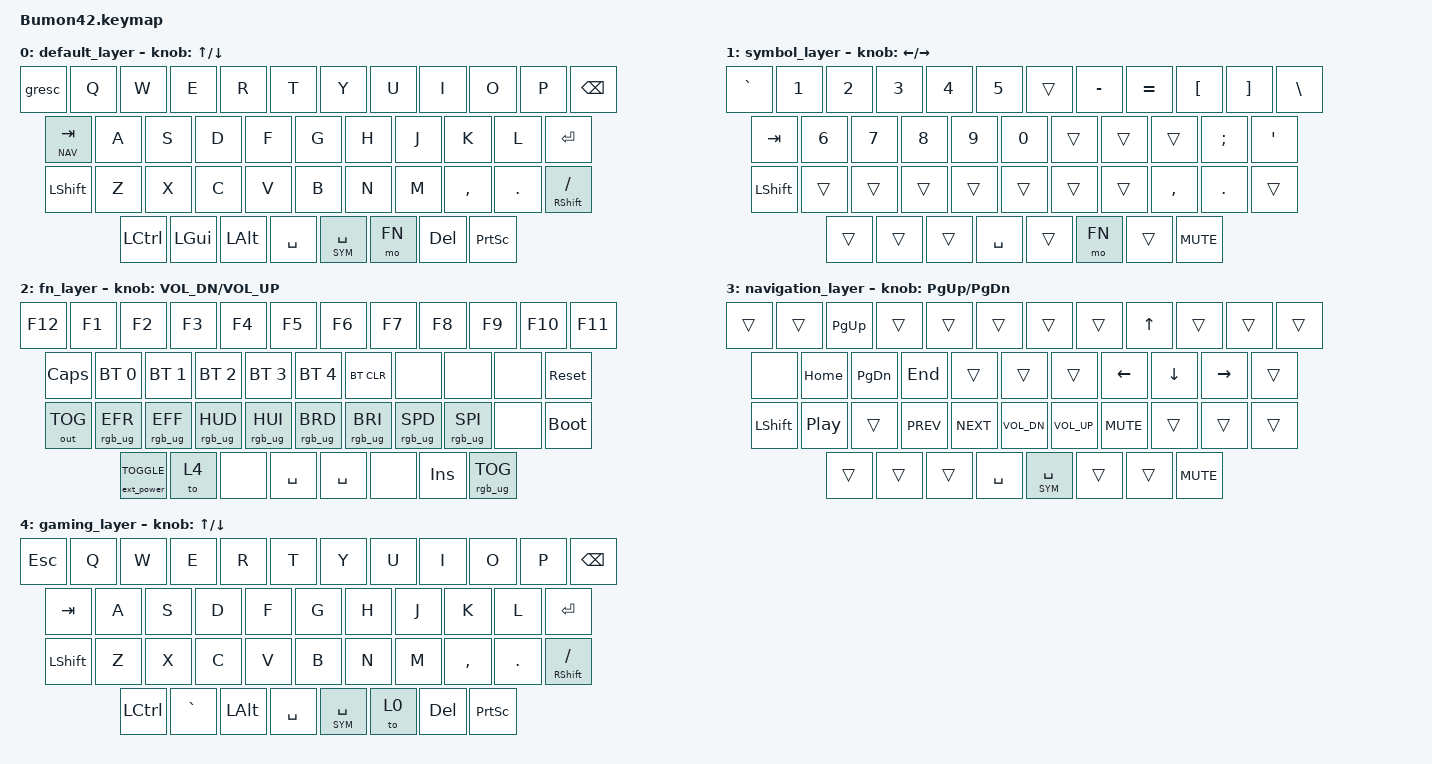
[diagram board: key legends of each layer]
#include <behaviors.dtsi>
#include <dt-bindings/zmk/keys.h>
#include <dt-bindings/zmk/bt.h>
#include <dt-bindings/zmk/outputs.h>
#include <dt-bindings/zmk/rgb.h>
#include <dt-bindings/zmk/ext_power.h>
// Right space for layer switch
#define DEF 0
#define SYM 1
#define FN  2
#define NAV 3
#define GME 4

/ {
    behaviors {
        gresc: grave_escape {
            compatible = "zmk,behavior-mod-morph";
            label = "GRAVE_ESCAPE";
            #binding-cells = <0>;
            bindings = <&kp ESC>, <&kp GRAVE>;
            mods = <(MOD_LSFT)>;
        };
    };
    keymap {
        compatible = "zmk,keymap";

        default_layer {
	// --------------------------------------------------------------------------------------------------------------------------
	// |   ESC   |    Q    |    W    |    E    |    R    |    T    |    Y    |    U    |    I    |    O    |    P    |   BKSP   |
	// |   TAB_NAV  |    A    |    S    |    D    |    F    |    G    |    H    |    J    |    K    |    L    |      ENTER      |
	// |    L_SHIFT    |    Z    |    X    |    C    |    V    |    B    |    N    |    M    |    ,    |    .    |   R_SHIFT  / |
	// |    CTRL    |   GUI   |    ALT    |           SPACE          |      SPACE_SYM       |    FN    |   DEL   |     PRTSC    | (UP DN)
	// --------------------------------------------------------------------------------------------------------------------------
          bindings = <
            &gresc  &kp Q   &kp W  &kp E  &kp R  &kp T    &kp Y  &kp U  &kp I  &kp O   &kp P  &kp BSPC
            &lt NAV TAB    &kp A  &kp S  &kp D  &kp F  &kp G  &kp H  &kp J  &kp K  &kp L         &kp ENTER
            &kp LSHFT   &kp Z  &kp X  &kp C  &kp V  &kp B  &kp N  &kp M  &kp COMMA &kp DOT   &mt RSHIFT SLASH
            &kp LCTRL &kp LGUI &kp LALT    &kp SPACE     &lt SYM SPACE  &mo FN   &kp DEL  &kp PSCRN
			       >;
          sensor-bindings = <&inc_dec_kp UP DOWN>;

        };

        symbol_layer {
	// --------------------------------------------------------------------------------------------------------------------------
	// |    `    |    1    |    2    |    3    |    4    |    5    |    Y    |    -    |    =    |    [    |    ]    |    \     |
	// |     TAB    |    6    |    7    |    8    |    9    |    0    |    H    |    J    |    K    |    ;    |        '        |
	// |    L_SHIFT    |    Z    |    X    |    C    |    V    |    B    |    N    |    M    |    ,    |    .    |   R_SHIFT /  |
	// |    CTRL    |   GUI   |    ALT    |           SPACE          |      SPACE_LT1       |    FN    |   DEL   |     MUTE     | (LEFT RIGHT)
	// --------------------------------------------------------------------------------------------------------------------------
          bindings = <
            &kp GRAVE  &kp N1  &kp N2  &kp N3  &kp N4  &kp N5    &trans  &kp MINUS  &kp EQUAL  &kp LBKT   &kp RBKT  &kp BSLH
            &kp TAB    &kp N6  &kp N7  &kp N8  &kp N9  &kp N0  &trans  &trans  &trans  &kp SEMI         &kp SQT
            &kp LSHFT   &trans  &trans  &trans  &trans  &trans  &trans  &trans  &kp COMMA &kp DOT   &trans
            &trans &trans &trans  &kp SPACE  &trans   &mo FN   &trans   &kp C_MUTE
                           >;
          sensor-bindings = <&inc_dec_kp LEFT RIGHT>;
	  
        };
	
        fn_layer {
	// --------------------------------------------------------------------------------------------------------------------------
	// |   F12   |    F1   |    F2   |    F3   |    F4   |    F5   |    F6   |    F7   |    F8   |    F9   |   F10   |    F11   |
	// |    CAPS    |   BT-0  |  BT-1   |  BT-2   |  BT-3   |  BT-4   | BT_CLR  |  none   |  none   |  none   |      reset      |
	// |    out-tog    | rgb-efr | rgb-rff | rgb-hud | rgb-hui | rgb-brd | rgb-bri | rgb-spd | rgb-spi |  none   |  bootloader  |
	// | ex-pwr-tog |   GME   |   none    |           SPACE          |         SPACE        |    FN    |   INS   |    rgb-tog   | (VOL_DN VOL_UP)
	// --------------------------------------------------------------------------------------------------------------------------
          bindings = <
            &kp F12  &kp F1  &kp F2  &kp F3  &kp F4  &kp F5    &kp F6  &kp F7  &kp F8  &kp F9 &kp F10  &kp F11
            &kp CAPS    &bt BT_SEL 0 &bt BT_SEL 1 &bt BT_SEL 2 &bt BT_SEL 3 &bt BT_SEL 4  &bt BT_CLR  &none  &none  &none    &sys_reset
            &out OUT_TOG    &rgb_ug RGB_EFR   &rgb_ug RGB_EFF    &rgb_ug RGB_HUD     &rgb_ug RGB_HUI   &rgb_ug RGB_BRD    &rgb_ug RGB_BRI     &rgb_ug RGB_SPD   &rgb_ug RGB_SPI   &none          &bootloader
            &ext_power EXT_POWER_TOGGLE_CMD   &to 4   &none    &kp SPACE   &kp SPACE      &none  &kp INS  &rgb_ug RGB_TOG
			   >; 
          sensor-bindings = <&inc_dec_kp C_VOL_DN C_VOL_UP>;

        };
	
        navigation_layer {
	// --------------------------------------------------------------------------------------------------------------------------
	// |   ESC   |    Q    |   PGUP    |    E    |    R    |    T    |    Y    |    U    |   UP  |    O    |    P    |   BKSP   |
	// |   TAB_NAV  |  HOME   |   PGDN  |   END   |    F    |    G    |    H    |   LEFT  |   DOWN  |  RIGHT  |      ENTER      |
	// |    L_SHIFT    |  PLAY   |    X    |   PREV  |   NEXT  |  VOLDN  | VOLUP   |   MUTE  |    ,    |    .    |   R_SHIFT  / |
	// |    CTRL    |   GUI   |    ALT    |           SPACE          |      SPACE_SYM       |    FN    |   DEL   |     MUTE     | (PG_DN PG_UP)
	// --------------------------------------------------------------------------------------------------------------------------
          bindings = <
            &trans &trans  &kp PG_UP  &trans  &trans  &trans    &trans  &trans    &kp UP   &trans   &trans    &trans
            &none   &kp HOME    &kp PG_DN  &kp END   &trans   &trans   &trans  &kp LEFT  &kp DOWN  &kp RIGHT   &trans
            &kp LSHFT   &kp C_PP   &trans  &kp C_PREV   &kp C_NEXT   &kp C_VOL_DN    &kp C_VOL_UP  &kp C_MUTE  &trans  &trans   &trans
            &trans   &trans   &trans       &kp SPACE           &lt SYM SPACE                   &trans  &trans  &kp C_MUTE
			       >;
          sensor-bindings = <&inc_dec_kp PG_UP PG_DN>;

        };
	
	gaming_layer {
	// --------------------------------------------------------------------------------------------------------------------------
	// |   ESC   |    Q    |    W    |    E    |    R    |    T    |    Y    |    U    |    I    |    O    |    P    |   BKSP   |
	// |     TAB    |    A    |    S    |    D    |    F    |    G    |    H    |    J    |    K    |    L    |      ENTER      |
	// |    L_SHIFT    |    Z    |    X    |    C    |    V    |    B    |    N    |    M    |    ,    |    .    |   R_SHIFT  / |
	// |    CTRL    |     `    |    ALT    |           SPACE          |      SPACE_SYM       |   DEF   |   DEL   |     PRTSC    | (UP DN)
	// --------------------------------------------------------------------------------------------------------------------------
          bindings = <
            &kp ESC  &kp Q   &kp W  &kp E  &kp R  &kp T    &kp Y  &kp U  &kp I  &kp O   &kp P  &kp BSPC
            &kp TAB    &kp A  &kp S  &kp D  &kp F  &kp G  &kp H  &kp J  &kp K  &kp L         &kp ENTER
            &kp LSHFT   &kp Z  &kp X  &kp C  &kp V  &kp B  &kp N  &kp M  &kp COMMA &kp DOT   &mt RSHIFT SLASH
            &kp LCTRL &kp GRAVE &kp LALT    &kp SPACE     &lt SYM SPACE  &to 0   &kp DEL  &kp PSCRN
			       >;
          sensor-bindings = <&inc_dec_kp UP DOWN>;

        };


    };
};
